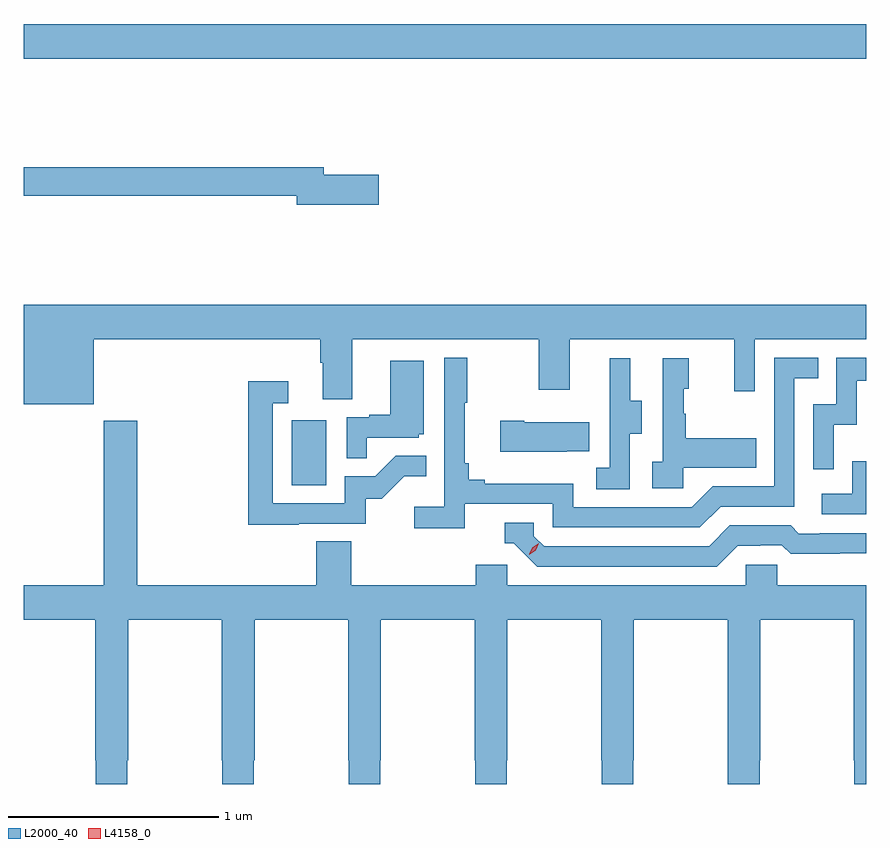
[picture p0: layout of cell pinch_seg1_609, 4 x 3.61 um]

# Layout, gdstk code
import gdstk
lib = gdstk.Library(unit=1e-6, precision=1e-09)
def R(c, l, rs):  # rectangles x0, y0, x1, y1
    for r in rs: c.add(gdstk.rectangle(r[:2], r[2:], *l))
def P(c, l, *ps):  # polygons
    for p in ps: c.add(gdstk.Polygon(p, *l))
L2000_40 = (2000, 40)
L4158_0 = (4158, 0)

pinch_seg1_609 = lib.new_cell('pinch_seg1_609')
R(pinch_seg1_609, L2000_40, [(1126.358,504.42,1126.522,504.727), (1125.086,506.444,1129.086,506.608)])
P(pinch_seg1_609, L2000_40, [(1126.771,505.892),(1126.51,505.892),(1126.51,505.928),(1125.086,505.928),(1125.086,505.792),(1126.382,505.792),(1126.382,505.75),(1126.771,505.75)],
  [(1125.418,505.112),(1126.493,505.112),(1126.493,505),(1126.505,505),(1126.505,504.826),(1126.645,504.826),(1126.645,505.112),(1127.53,505.112),(1127.53,504.873),(1127.677,504.873),(1127.677,505.112),(1128.458,505.112),(1128.458,504.864),(1128.555,504.864),(1128.555,505.112),(1129.086,505.112),(1129.086,505.276),(1125.086,505.276),(1125.086,504.803),(1125.418,504.803)],
  [(1127.18,504.33),(1127.598,504.33),(1127.598,504.219),(1128.295,504.219),(1128.394,504.318),(1128.744,504.318),(1128.744,504.927),(1128.857,504.927),(1128.857,505.023),(1128.648,505.023),(1128.648,504.414),(1128.357,504.414),(1128.258,504.315),(1127.694,504.315),(1127.694,504.427),(1127.275,504.427),(1127.275,504.446),(1127.198,504.446),(1127.198,504.523),(1127.179,504.523),(1127.179,504.811),(1127.191,504.811),(1127.191,505.024),(1127.082,505.024),(1127.082,504.316),(1126.941,504.316),(1126.941,504.214),(1127.18,504.214)],
  [(1128.93,504.707),(1129.04,504.707),(1129.04,504.915),(1129.086,504.915),(1129.086,505.023),(1128.942,505.023),(1128.942,504.804),(1128.834,504.804),(1128.834,504.495),(1128.93,504.495)],
  [(1128.216,504.503),(1128.563,504.503),(1128.563,504.643),(1128.229,504.643),(1128.229,504.758),(1128.219,504.758),(1128.219,504.876),(1128.244,504.876),(1128.244,505.021),(1128.12,505.021),(1128.12,504.53),(1128.069,504.53),(1128.069,504.405),(1128.216,504.405)],
  [(1127.964,504.664),(1128.019,504.664),(1128.019,504.819),(1127.965,504.819),(1127.965,505.021),(1127.867,505.021),(1127.867,504.807),(1127.868,504.807),(1127.868,504.503),(1127.805,504.503),(1127.805,504.4),(1127.964,504.4)],
  [(1126.715,504.645),(1126.962,504.645),(1126.962,504.66),(1126.984,504.66),(1126.984,505.009),(1126.826,505.009),(1126.826,504.754),(1126.727,504.754),(1126.727,504.741),(1126.62,504.741),(1126.62,504.547),(1126.715,504.547)],
  [(1126.391,504.237),(1126.71,504.237),(1126.71,504.354),(1126.786,504.354),(1126.893,504.461),(1126.997,504.461),(1126.997,504.56),(1126.853,504.56),(1126.755,504.462),(1126.611,504.462),(1126.611,504.333),(1126.269,504.333),(1126.269,504.807),(1126.342,504.807),(1126.342,504.913),(1126.153,504.913),(1126.153,504.232),(1126.391,504.232)],
  [(1127.663,504.581),(1127.771,504.581),(1127.771,504.718),(1127.461,504.718),(1127.461,504.726),(1127.349,504.726),(1127.349,504.578),(1127.663,504.578)],
  [(1127.382,504.042),(1127.231,504.042),(1127.231,503.944),(1126.64,503.944),(1126.64,504.152),(1126.475,504.152),(1126.475,503.944),(1125.626,503.944),(1125.626,504.724),(1125.466,504.724),(1125.466,503.944),(1125.086,503.944),(1125.086,503.78),(1125.427,503.78),(1125.427,503.113),(1125.429,503.113),(1125.429,503.001),(1125.579,503.001),(1125.579,503.113),(1125.582,503.113),(1125.582,503.78),(1126.027,503.78),(1126.027,503.113),(1126.029,503.113),(1126.029,503.001),(1126.179,503.001),(1126.179,503.113),(1126.182,503.113),(1126.182,503.78),(1126.627,503.78),(1126.627,503.113),(1126.629,503.113),(1126.629,503.001),(1126.779,503.001),(1126.779,503.113),(1126.782,503.113),(1126.782,503.78),(1127.227,503.78),(1127.227,503.113),(1127.229,503.113),(1127.229,503.001),(1127.379,503.001),(1127.379,503.113),(1127.382,503.113),(1127.382,503.78),(1127.827,503.78),(1127.827,503.113),(1127.829,503.113),(1127.829,503.001),(1127.979,503.001),(1127.979,503.113),(1127.982,503.113),(1127.982,503.78),(1128.427,503.78),(1128.427,503.113),(1128.429,503.113),(1128.429,503.001),(1128.579,503.001),(1128.579,503.113),(1128.582,503.113),(1128.582,503.78),(1129.027,503.78),(1129.027,503.113),(1129.029,503.113),(1129.029,503.001),(1129.086,503.001),(1129.086,503.944),(1128.663,503.944),(1128.663,504.042),(1128.513,504.042),(1128.513,503.944),(1127.382,503.944)],
  [(1129.086,504.532),(1129.02,504.532),(1129.02,504.378),(1128.873,504.378),(1128.873,504.282),(1129.086,504.282)],
  [(1128.475,504.132),(1128.582,504.132),(1128.582,504.135),(1128.685,504.135),(1128.727,504.093),(1128.96,504.093),(1128.96,504.095),(1129.086,504.095),(1129.086,504.192),(1128.865,504.192),(1128.865,504.189),(1128.766,504.189),(1128.727,504.228),(1128.438,504.228),(1128.339,504.129),(1127.556,504.129),(1127.508,504.177),(1127.508,504.24),(1127.369,504.24),(1127.369,504.144),(1127.412,504.144),(1127.523,504.033),(1128.376,504.033)])
P(pinch_seg1_609, L4158_0, [(1127.486,504.09),(1127.486,504.091),(1127.501,504.123),(1127.532,504.143),(1127.532,504.143),(1127.532,504.143),(1127.516,504.11),(1127.486,504.09)])

lib.write_gds('pinch_seg1_609.gds')
